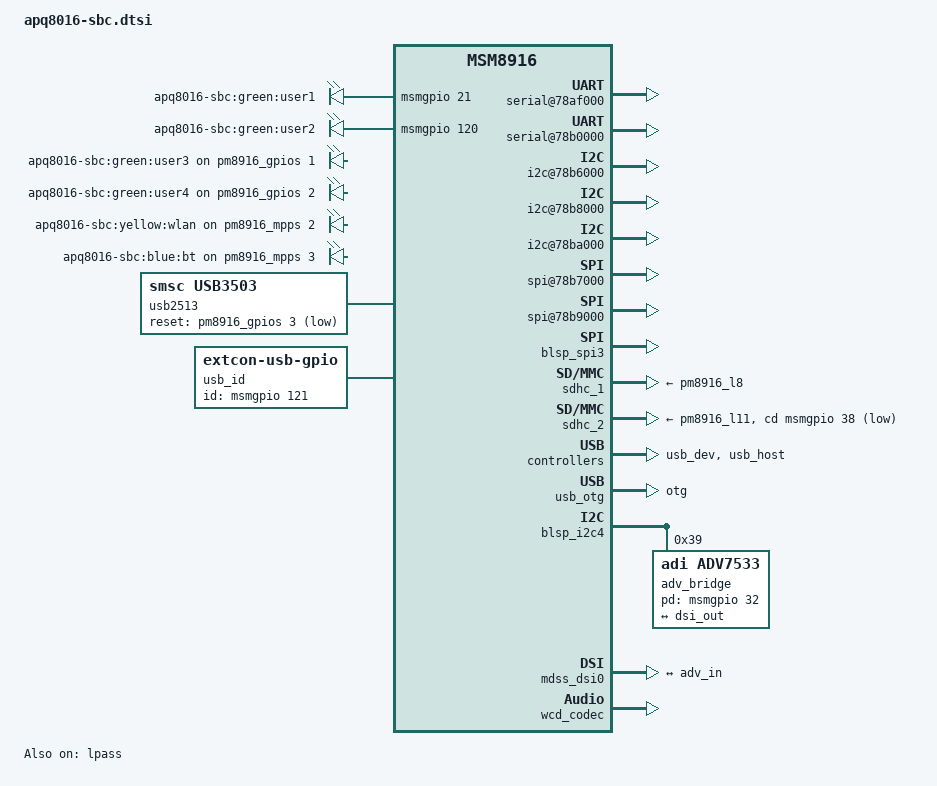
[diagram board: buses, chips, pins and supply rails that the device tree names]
/*
 * Copyright (c) 2015, The Linux Foundation. All rights reserved.
 *
 * This program is free software; you can redistribute it and/or modify
 * it under the terms of the GNU General Public License version 2 and
 * only version 2 as published by the Free Software Foundation.
 *
 * This program is distributed in the hope that it will be useful,
 * but WITHOUT ANY WARRANTY; without even the implied warranty of
 * MERCHANTABILITY or FITNESS FOR A PARTICULAR PURPOSE.  See the
 * GNU General Public License for more details.
 */

#include <dt-bindings/gpio/gpio.h>
#include <dt-bindings/sound/apq8016-lpass.h>
#include "msm8916.dtsi"
#include "pm8916.dtsi"
#include "apq8016-sbc-soc-pins.dtsi"
#include "apq8016-sbc-pmic-pins.dtsi"
#include "msm8916-mdss.dtsi"
/ {
	aliases {
		serial0 = &blsp1_uart2;
		serial1 = &blsp1_uart1;
		usid0 = &pm8916_0;
		i2c0	= &blsp_i2c2;
		i2c1	= &blsp_i2c6;
		i2c3	= &blsp_i2c4;
	};

	chosen {
		stdout-path = "serial0";
	};

	soc {
		serial@78af000 {
			label = "LS-UART0";
			status = "okay";
			pinctrl-names = "default", "sleep";
			pinctrl-0 = <&blsp1_uart1_default>;
			pinctrl-1 = <&blsp1_uart1_sleep>;
		};

		serial@78b0000 {
			label = "LS-UART1";
			status = "okay";
			pinctrl-names = "default", "sleep";
			pinctrl-0 = <&blsp1_uart2_default>;
			pinctrl-1 = <&blsp1_uart2_sleep>;
		};

		i2c@78b6000 {
		/* On Low speed expansion */
			label = "LS-I2C0";
			status = "okay";
		};

		i2c@78b8000 {
		/* On High speed expansion */
			label = "HS-I2C2";
			status = "okay";
		};

		i2c@78ba000 {
		/* On Low speed expansion */
			label = "LS-I2C1";
			status = "okay";
		};

		spi@78b7000 {
		/* On High speed expansion */
			label = "HS-SPI1";
			status = "okay";
		};

		spi@78b9000 {
		/* On Low speed expansion */
			label = "LS-SPI0";
			status = "okay";
		};

		leds {
			pinctrl-names = "default";
			pinctrl-0 = <&msmgpio_leds>,
				    <&pm8916_gpios_leds>,
				    <&pm8916_mpps_leds>;

			compatible = "gpio-leds";

			led@1 {
				label = "apq8016-sbc:green:user1";
				gpios = <&msmgpio 21 GPIO_ACTIVE_HIGH>;
				linux,default-trigger = "heartbeat";
				default-state = "off";
			};

			led@2 {
				label = "apq8016-sbc:green:user2";
				gpios = <&msmgpio 120 GPIO_ACTIVE_HIGH>;
				linux,default-trigger = "mmc0";
				default-state = "off";
			};

			led@3 {
				label = "apq8016-sbc:green:user3";
				gpios = <&pm8916_gpios 1 GPIO_ACTIVE_HIGH>;
				linux,default-trigger = "mmc1";
				default-state = "off";
			};

			led@4 {
				label = "apq8016-sbc:green:user4";
				gpios = <&pm8916_gpios 2 GPIO_ACTIVE_HIGH>;
				linux,default-trigger = "none";
				default-state = "off";
			};

			led@5 {
				label = "apq8016-sbc:yellow:wlan";
				gpios = <&pm8916_mpps 2 GPIO_ACTIVE_HIGH>;
				linux,default-trigger = "wlan";
				default-state = "off";
			};

			led@6 {
				label = "apq8016-sbc:blue:bt";
				gpios = <&pm8916_mpps 3 GPIO_ACTIVE_HIGH>;
				linux,default-trigger = "bt";
				default-state = "off";
			};
		};
	};

	usb2513 {
		compatible = "smsc,usb3503";
		reset-gpios = <&pm8916_gpios 3 GPIO_ACTIVE_LOW>;
		initial-mode = <1>;
	};

	usb_id: usb-id {
		interrupt-parent = <&msmgpio>;
		compatible = "linux,extcon-usb-gpio";
		id-gpio = <&msmgpio 121 GPIO_ACTIVE_HIGH>;
		pinctrl-names = "default";
		pinctrl-0 = <&usb_id_default>;
	};
};
&blsp_dma {
	status = "okay";
};

&blsp_spi3 {
	status = "okay";
};

&sdhc_1 {
	vmmc-supply = <&pm8916_l8>;
	vqmmc-supply = <&pm8916_l5>;

	pinctrl-names = "default", "sleep";
	pinctrl-0 = <&sdc1_clk_on &sdc1_cmd_on &sdc1_data_on>;
	pinctrl-1 = <&sdc1_clk_off &sdc1_cmd_off &sdc1_data_off>;
	status = "okay";
};

&sdhc_2 {
	vmmc-supply = <&pm8916_l11>;
	vqmmc-supply = <&pm8916_l12>;

	pinctrl-names = "default", "sleep";
	pinctrl-0 = <&sdc2_clk_on &sdc2_cmd_on &sdc2_data_on &sdc2_cd_on>;
	pinctrl-1 = <&sdc2_clk_off &sdc2_cmd_off &sdc2_data_off &sdc2_cd_off>;
	#address-cells = <0>;
	interrupt-parent = <&sdhc_2>;
	interrupts = <0 1 2>;
	#interrupt-cells = <1>;
	interrupt-map-mask = <0xffffffff>;
	interrupt-map = <0 &intc 0 125 0
			1 &intc 0 221 0
			2 &msmgpio 38 0>;
	interrupt-names = "hc_irq", "pwr_irq", "status_irq";
	cd-gpios = <&msmgpio 38 0x1>;

	status = "okay";
};

&usb_dev {
	extcon = <&usb_id>, <&usb_id>;
	status = "okay";
};

&usb_host {
	status = "okay";
};

&sdhc_1 {
	status = "okay";
};

&usb_otg {
	extcon = <&usb_id>, <&usb_id>;
	dr_mode = "otg";
	status = "okay";
	switch-gpio = <&pm8916_gpios 4 GPIO_ACTIVE_HIGH>; // D+/D- lines: 1 - Routed to HUB, 0 - Device
	pinctrl-names = "default";
	pinctrl-0 = <&usb_sw_sel_pm>;
};

&blsp_i2c4 {
	status = "ok";

	adv_bridge: bridge@39 {
		status = "ok";
		compatible = "adi,adv7533";
		reg = <0x39>;
		interrupt-parent = <&msmgpio>;
		//interrupts = <31 2>;
		adi,dsi-lanes = <4>;
		pd-gpios = <&msmgpio 32 0>;
		pinctrl-names = "default","sleep";
		pinctrl-0 = <&adv7533_int_active &adv7533_switch_active>;
		pinctrl-1 = <&adv7533_int_suspend &adv7533_switch_suspend>;
		#sound-dai-cells = <0>;

		port {
			adv_in: endpoint {
				remote-endpoint = <&dsi_out>;
			};
		};

	};
};

&mdss_dsi0 {
	status = "ok";

	port {
		dsi_out: endpoint {
			remote-endpoint = <&adv_in>;
		};
	};
};

&lpass {
	status = "okay";
};

&wcd_codec {
	status = "okay";
	clocks = <&gcc GCC_CODEC_DIGCODEC_CLK>;
	clock-names = "mclk";
	digital = <&wcd_digital>;
};
	/*
	Internal Codec
		playback - Primary MI2S
		capture - Ter MI2S

	External Primary:
		playback - secondary MI2S
		capture - Quat MI2S

	External Secondary:
		playback - Quat MI2S
		capture - Quat MI2S

	*/
&sound {
	status = "okay";
	pinctrl-0 = <&cdc_pdm_lines_act &ext_sec_tlmm_lines_act &ext_mclk_tlmm_lines_act>;
	pinctrl-1 = <&cdc_pdm_lines_sus &ext_sec_tlmm_lines_sus &ext_mclk_tlmm_lines_sus>;
	pinctrl-names = "default", "sleep";
	qcom,model = "DB410c";


	internal-codec-playback-dai-link@0 {		/* I2S - Internal codec */
		link-name = "WCD";
		cpu { /* PRIMARY */
			sound-dai = <&lpass MI2S_PRIMARY>;
		};
		codec {
			sound-dai = <&wcd_codec 0>;
		};
	};

	/* External Primary or External Secondary -ADV7533 HDMI */
	external-dai-link@0 {
		link-name = "ADV7533";

		cpu { /* QUAT */
			sound-dai = <&lpass MI2S_QUATERNARY>;
		};
		codec {
			sound-dai = <&adv_bridge 0>;
		};
	};
};

/* default regulators required for mezzanine boards */
&pm8916_l15 {
	regulator-always-on;
};
